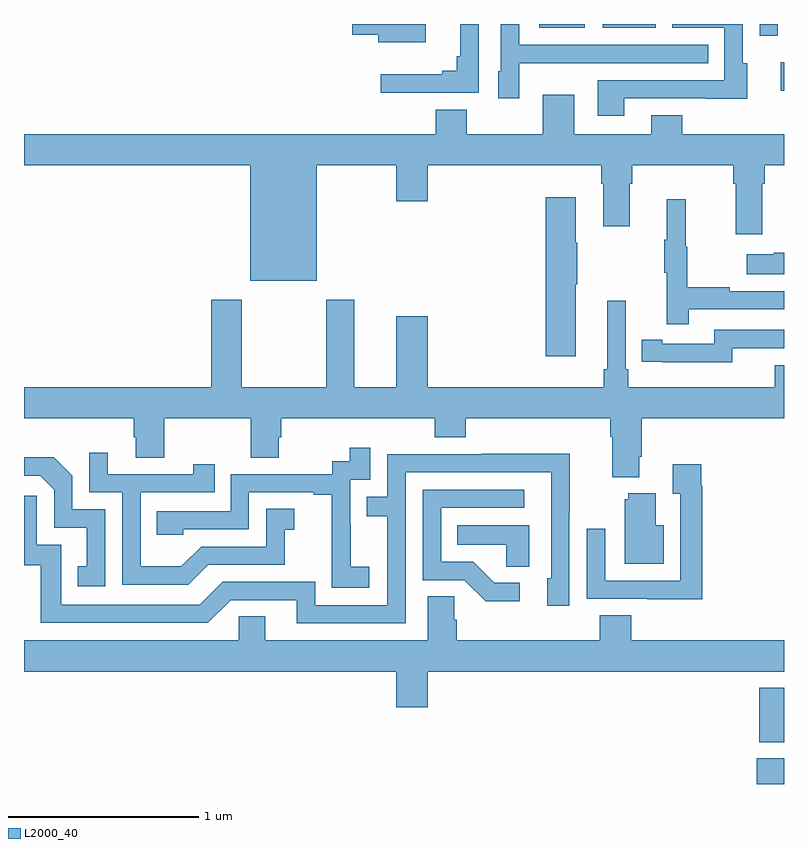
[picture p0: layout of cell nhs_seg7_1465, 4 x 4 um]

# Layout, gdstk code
import gdstk
lib = gdstk.Library(unit=1e-6, precision=1e-09)
def R(c, l, rs):  # rectangles x0, y0, x1, y1
    for r in rs: c.add(gdstk.rectangle(r[:2], r[2:], *l))
def P(c, l, *ps):  # polygons
    for p in ps: c.add(gdstk.Polygon(p, *l))
L2000_40 = (2000, 40)

nhs_seg7_1465 = lib.new_cell('nhs_seg7_1465')
R(nhs_seg7_1465, L2000_40, [(214.856,1024,215,1024.136), (214.871,1024.221,215,1024.507), (214.983,1027.65,215,1027.798), (214.872,1027.938,214.968,1028), (213.713,1027.979,213.952,1028), (214.046,1027.979,214.324,1028)])
P(nhs_seg7_1465, L2000_40, [(214.159,1027.608),(214.589,1027.608),(214.589,1027.607),(214.807,1027.607),(214.807,1027.794),(214.782,1027.794),(214.782,1028),(214.413,1028),(214.413,1027.98),(214.686,1027.98),(214.686,1027.704),(214.019,1027.704),(214.019,1027.518),(214.159,1027.518)],
  [(213.606,1027.793),(213.923,1027.793),(213.923,1027.794),(214.601,1027.794),(214.601,1027.89),(213.606,1027.89),(213.606,1028),(213.51,1028),(213.51,1027.752),(213.497,1027.752),(213.497,1027.608),(213.606,1027.608)],
  [(213.393,1028),(213.296,1028),(213.296,1027.831),(213.277,1027.831),(213.277,1027.754),(213.2,1027.754),(213.2,1027.735),(212.877,1027.735),(212.877,1027.638),(213.393,1027.638)],
  [(213.115,1028),(212.727,1028),(212.727,1027.943),(212.864,1027.943),(212.864,1027.904),(213.115,1027.904)],
  [(212.542,1027.256),(212.96,1027.256),(212.96,1027.068),(213.124,1027.068),(213.124,1027.256),(214.037,1027.256),(214.037,1027.16),(214.049,1027.16),(214.049,1026.936),(214.189,1026.936),(214.189,1027.16),(214.202,1027.16),(214.202,1027.256),(214.733,1027.256),(214.733,1027.16),(214.745,1027.16),(214.745,1026.894),(214.885,1026.894),(214.885,1027.16),(214.898,1027.16),(214.898,1027.256),(215,1027.256),(215,1027.42),(214.465,1027.42),(214.465,1027.519),(214.301,1027.519),(214.301,1027.42),(213.895,1027.42),(213.895,1027.627),(213.731,1027.627),(213.731,1027.42),(213.331,1027.42),(213.331,1027.549),(213.167,1027.549),(213.167,1027.42),(211,1027.42),(211,1027.256),(212.192,1027.256),(212.192,1026.65),(212.542,1026.65)],
  [(213.904,1026.631),(213.912,1026.631),(213.912,1026.848),(213.904,1026.848),(213.904,1027.087),(213.746,1027.087),(213.746,1026.252),(213.904,1026.252)],
  [(214.499,1026.498),(215,1026.498),(215,1026.594),(214.715,1026.594),(214.715,1026.614),(214.492,1026.614),(214.492,1026.828),(214.484,1026.828),(214.484,1027.078),(214.382,1027.078),(214.382,1026.865),(214.371,1026.865),(214.371,1026.691),(214.382,1026.691),(214.382,1026.42),(214.499,1026.42)],
  [(215,1026.797),(214.946,1026.797),(214.946,1026.787),(214.803,1026.787),(214.803,1026.683),(215,1026.683)],
  [(214.237,1025.722),(214.25,1025.722),(214.25,1025.924),(215,1025.924),(215,1026.205),(214.952,1026.205),(214.952,1026.088),(214.181,1026.088),(214.181,1026.184),(214.167,1026.184),(214.167,1026.544),(214.07,1026.544),(214.07,1026.184),(214.051,1026.184),(214.051,1026.088),(213.124,1026.088),(213.124,1026.463),(212.96,1026.463),(212.96,1026.088),(212.737,1026.088),(212.737,1026.55),(212.59,1026.55),(212.59,1026.088),(212.145,1026.088),(212.145,1026.55),(211.985,1026.55),(211.985,1026.088),(211,1026.088),(211,1025.924),(211.577,1025.924),(211.577,1025.826),(211.589,1025.826),(211.589,1025.716),(211.737,1025.716),(211.737,1025.924),(212.194,1025.924),(212.194,1025.716),(212.341,1025.716),(212.341,1025.826),(212.354,1025.826),(212.354,1025.924),(213.161,1025.924),(213.161,1025.825),(213.326,1025.825),(213.326,1025.924),(214.085,1025.924),(214.085,1025.828),(214.097,1025.828),(214.097,1025.615),(214.237,1025.615)],
  [(214.728,1026.294),(215,1026.294),(215,1026.39),(214.632,1026.39),(214.632,1026.318),(214.36,1026.318),(214.36,1026.338),(214.252,1026.338),(214.252,1026.222),(214.36,1026.222),(214.36,1026.221),(214.728,1026.221)],
  [(212.818,1025.143),(212.72,1025.143),(212.72,1025.372),(212.718,1025.372),(212.718,1025.601),(212.823,1025.601),(212.823,1025.77),(212.715,1025.77),(212.715,1025.7),(212.622,1025.7),(212.622,1025.631),(212.088,1025.631),(212.088,1025.436),(211.699,1025.436),(211.699,1025.313),(211.839,1025.313),(211.839,1025.34),(212.184,1025.34),(212.184,1025.535),(212.525,1025.535),(212.525,1025.523),(212.621,1025.523),(212.621,1025.239),(212.62,1025.239),(212.62,1025.033),(212.818,1025.033)],
  [(211.969,1025.154),(212.373,1025.154),(212.373,1025.339),(212.422,1025.339),(212.422,1025.449),(212.274,1025.449),(212.274,1025.25),(211.932,1025.25),(211.828,1025.146),(211.614,1025.146),(211.614,1025.535),(212.003,1025.535),(212.003,1025.683),(211.892,1025.683),(211.892,1025.631),(211.441,1025.631),(211.441,1025.743),(211.344,1025.743),(211.344,1025.535),(211.518,1025.535),(211.518,1025.049),(211.864,1025.049)],
  [(213.009,1025.64),(213.774,1025.64),(213.774,1025.082),(213.755,1025.082),(213.755,1024.938),(213.87,1024.938),(213.87,1025.431),(213.873,1025.431),(213.873,1025.738),(213.409,1025.738),(213.409,1025.736),(212.913,1025.736),(212.913,1025.511),(212.803,1025.511),(212.803,1025.41),(212.913,1025.41),(212.913,1024.941),(212.532,1024.941),(212.532,1025.064),(212.046,1025.064),(211.926,1024.944),(211.197,1024.944),(211.197,1025.259),(211.068,1025.259),(211.068,1025.518),(211,1025.518),(211,1025.151),(211.089,1025.151),(211.089,1024.848),(211.968,1024.848),(212.088,1024.968),(212.435,1024.968),(212.435,1024.845),(213.009,1024.845)],
  [(211.428,1025.445),(211.254,1025.445),(211.254,1025.622),(211.156,1025.72),(211,1025.72),(211,1025.622),(211.086,1025.622),(211.158,1025.55),(211.158,1025.349),(211.331,1025.349),(211.331,1025.145),(211.282,1025.145),(211.282,1025.04),(211.428,1025.04)],
  [(214.571,1025.57),(214.564,1025.57),(214.564,1025.683),(214.415,1025.683),(214.415,1025.527),(214.455,1025.527),(214.455,1025.07),(214.059,1025.07),(214.059,1025.344),(213.963,1025.344),(213.963,1024.974),(214.279,1024.974),(214.279,1024.973),(214.571,1024.973)],
  [(213.61,1025.058),(213.475,1025.058),(213.364,1025.169),(213.195,1025.169),(213.195,1025.454),(213.634,1025.454),(213.634,1025.55),(213.099,1025.55),(213.099,1025.073),(213.318,1025.073),(213.431,1024.961),(213.61,1024.961)],
  [(214.366,1025.362),(214.324,1025.362),(214.324,1025.53),(214.181,1025.53),(214.181,1025.499),(214.163,1025.499),(214.163,1025.159),(214.366,1025.159)],
  [(213.658,1025.362),(213.28,1025.362),(213.28,1025.258),(213.537,1025.258),(213.537,1025.143),(213.658,1025.143)],
  [(213.124,1024.592),(215,1024.592),(215,1024.756),(214.196,1024.756),(214.196,1024.889),(214.031,1024.889),(214.031,1024.756),(213.278,1024.756),(213.278,1024.865),(213.264,1024.865),(213.264,1024.988),(213.125,1024.988),(213.125,1024.756),(212.269,1024.756),(212.269,1024.883),(212.13,1024.883),(212.13,1024.756),(211,1024.756),(211,1024.592),(212.96,1024.592),(212.96,1024.404),(213.124,1024.404)])

lib.write_gds('nhs_seg7_1465.gds')
